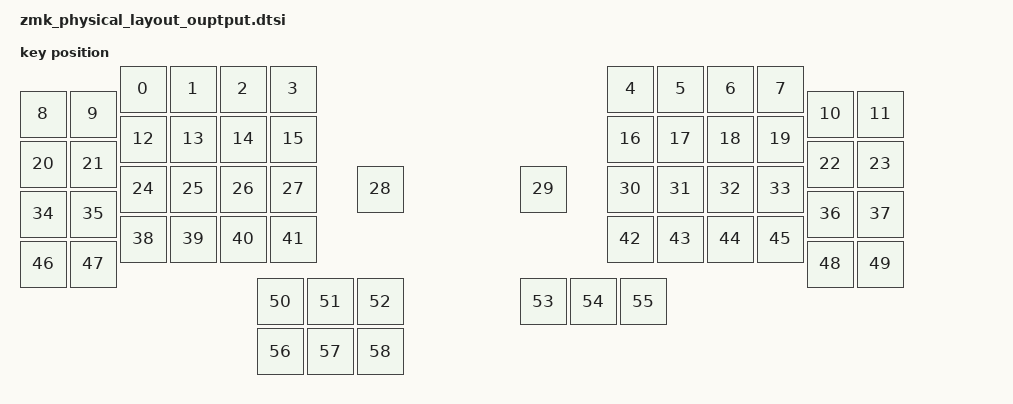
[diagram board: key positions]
#include <physical_layouts.dtsi>

/ {
    layout_0: layout_0 {
        compatible = "zmk,physical-layout";
        display-name = "LAYOUT";

        kscan = <&kscan_0>;
        transform = <&matrix_transform_0>;

        keys  //                     w   h    x    y     rot    rx    ry
            = <&key_physical_attrs 100 100  200    0       0     0     0>
            , <&key_physical_attrs 100 100  300    0       0     0     0>
            , <&key_physical_attrs 100 100  400    0       0     0     0>
            , <&key_physical_attrs 100 100  500    0       0     0     0>
            , <&key_physical_attrs 100 100 1175    0       0     0     0>
            , <&key_physical_attrs 100 100 1275    0       0     0     0>
            , <&key_physical_attrs 100 100 1375    0       0     0     0>
            , <&key_physical_attrs 100 100 1475    0       0     0     0>
            , <&key_physical_attrs 100 100    0   50       0     0     0>
            , <&key_physical_attrs 100 100  100   50       0     0     0>
            , <&key_physical_attrs 100 100 1575   50       0     0     0>
            , <&key_physical_attrs 100 100 1675   50       0     0     0>
            , <&key_physical_attrs 100 100  200  100       0     0     0>
            , <&key_physical_attrs 100 100  300  100       0     0     0>
            , <&key_physical_attrs 100 100  400  100       0     0     0>
            , <&key_physical_attrs 100 100  500  100       0     0     0>
            , <&key_physical_attrs 100 100 1175  100       0     0     0>
            , <&key_physical_attrs 100 100 1275  100       0     0     0>
            , <&key_physical_attrs 100 100 1375  100       0     0     0>
            , <&key_physical_attrs 100 100 1475  100       0     0     0>
            , <&key_physical_attrs 100 100    0  150       0     0     0>
            , <&key_physical_attrs 100 100  100  150       0     0     0>
            , <&key_physical_attrs 100 100 1575  150       0     0     0>
            , <&key_physical_attrs 100 100 1675  150       0     0     0>
            , <&key_physical_attrs 100 100  200  200       0     0     0>
            , <&key_physical_attrs 100 100  300  200       0     0     0>
            , <&key_physical_attrs 100 100  400  200       0     0     0>
            , <&key_physical_attrs 100 100  500  200       0     0     0>
            , <&key_physical_attrs 100 100  675  200       0     0     0>
            , <&key_physical_attrs 100 100 1000  200       0     0     0>
            , <&key_physical_attrs 100 100 1175  200       0     0     0>
            , <&key_physical_attrs 100 100 1275  200       0     0     0>
            , <&key_physical_attrs 100 100 1375  200       0     0     0>
            , <&key_physical_attrs 100 100 1475  200       0     0     0>
            , <&key_physical_attrs 100 100    0  250       0     0     0>
            , <&key_physical_attrs 100 100  100  250       0     0     0>
            , <&key_physical_attrs 100 100 1575  250       0     0     0>
            , <&key_physical_attrs 100 100 1675  250       0     0     0>
            , <&key_physical_attrs 100 100  200  300       0     0     0>
            , <&key_physical_attrs 100 100  300  300       0     0     0>
            , <&key_physical_attrs 100 100  400  300       0     0     0>
            , <&key_physical_attrs 100 100  500  300       0     0     0>
            , <&key_physical_attrs 100 100 1175  300       0     0     0>
            , <&key_physical_attrs 100 100 1275  300       0     0     0>
            , <&key_physical_attrs 100 100 1375  300       0     0     0>
            , <&key_physical_attrs 100 100 1475  300       0     0     0>
            , <&key_physical_attrs 100 100    0  350       0     0     0>
            , <&key_physical_attrs 100 100  100  350       0     0     0>
            , <&key_physical_attrs 100 100 1575  350       0     0     0>
            , <&key_physical_attrs 100 100 1675  350       0     0     0>
            , <&key_physical_attrs 100 100  475  425       0     0     0>
            , <&key_physical_attrs 100 100  575  425       0     0     0>
            , <&key_physical_attrs 100 100  675  425       0     0     0>
            , <&key_physical_attrs 100 100 1000  425       0     0     0>
            , <&key_physical_attrs 100 100 1100  425       0     0     0>
            , <&key_physical_attrs 100 100 1200  425       0     0     0>
            , <&key_physical_attrs 100 100  475  525       0     0     0>
            , <&key_physical_attrs 100 100  575  525       0     0     0>
            , <&key_physical_attrs 100 100  675  525       0     0     0>
            ;
    };
};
